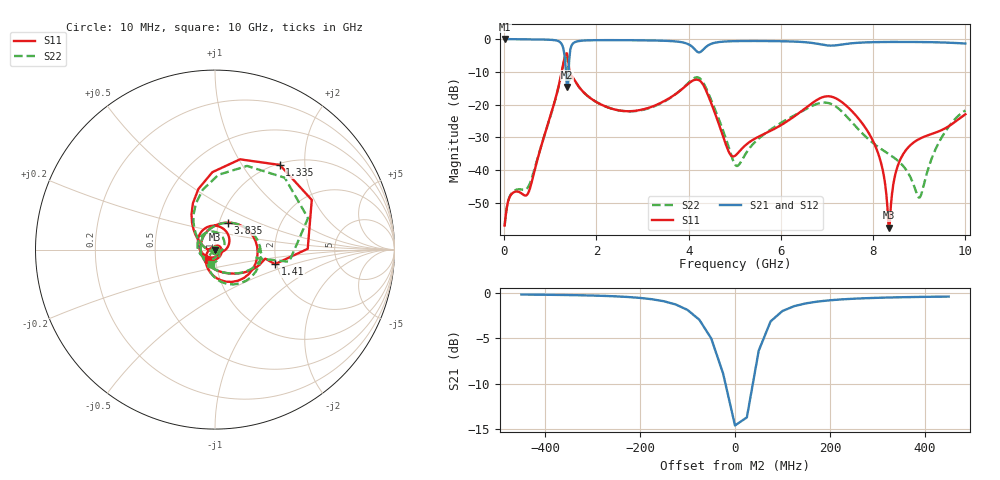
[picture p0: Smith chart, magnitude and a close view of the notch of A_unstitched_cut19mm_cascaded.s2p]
! Channel segmentation validation - 38 mm 50 ohm symmetric stripline coupon
! Case: Coupon A (no stitching vias) - cut 19 mm from nearest port, cascaded
! Solver: Ansys HFSS 3D Layout 2026 R1, broadband adaptive 1-5 GHz,
!  Delta S 0.02, interpolating sweep 10 MHz - 10 GHz
! Port[1] = U1.PAD1.SIG
! Port[2] = U2.PAD1.SIG
# GHz S MA R 50.0
! Port[1] = U1.PAD1.SIG
! Port[2] = U2.PAD1.SIG
!freq magS11 angS11 magS21 angS21 magS12 angS12 magS22 angS22
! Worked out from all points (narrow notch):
!   401 points, 10 MHz to 10 GHz, reference 50 ohm
!   highest |S21| = -0.01 dB at 10 MHz (marker M1); lowest = -14.6 dB at 1.36 GHz (marker M2)
!   notch at M2: 13.8 dB deep, 78.1 MHz wide at half that depth
!   lowest |S11| = -57.6 dB at 8.335 GHz (marker M3), VSWR 1.00, Z = 50.1 - j0.0104 ohm
!   |S11| at or under -10 dB: start of sweep to 1.247 GHz; 1.421 GHz to end of sweep
!   |S22| runs from -57.0 to -5.1 dB; largest |S21 - S12| = 7.5e-14
!   S11 on the Smith chart (normalised r, x): 10 MHz: 1.00, +0.00; 1.335 GHz: 1.03, +1.50; 1.41 GHz: 1.96, -0.36; 3.835 GHz: 1.10, +0.34; 10 GHz: 0.92, -0.11
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0.01  0.001414 16.4  0.9985 -1.0  0.9985 -1.0  0.001415 16.4
0.535  0.004663 -87.3  0.9887 -54.2  0.9887 -54.2  0.005747 -80.9
0.835  0.02754 -171.1  0.9827 -85.8  0.9827 -85.8  0.0276 -167.6
1.21  0.2354 123.8  0.9001 -138.6  0.9001 -138.6  0.2304 121.2
1.335  0.5942 52.6  0.3589 -174.8  0.3589 -174.8  0.5581 45.8
1.36  0.6061 27.2  0.1857 -152.3  0.1857 -152.3  0.547 18.6
1.41  0.3439 -13.6  0.4806 -78.8  0.4806 -78.8  0.2363 -11.8
1.685  0.1642 -54.4  0.9439 -149.4  0.9439 -149.4  0.1639 -54.5
2.11  0.09935 -104.1  0.962 163.5  0.962 163.5  0.09939 -102.5
2.61  0.07936 -157.9  0.9611 113.3  0.9611 113.3  0.07921 -151.7
3.36  0.1031 123.1  0.9467 38.7  0.9467 38.7  0.1013 126.1
3.835  0.167 64.1  0.8983 -11.0  0.8983 -11.0  0.1679 62.7
4.285  0.2157 -53.5  0.6584 -37.9  0.6584 -37.9  0.2334 -53.9
5.01  0.01658 71.3  0.9295 -110.3  0.9295 -110.3  0.01196 -105.5
5.785  0.03991 -83.0  0.9311 172.8  0.9311 172.8  0.04181 -84.1
6.685  0.1059 154.1  0.8704 83.8  0.8704 83.8  0.09589 176.8
7.81  0.04651 -11.6  0.8873 -15.1  0.8873 -15.1  0.03374 -13.9
8.16  0.01373 -42.1  0.9 -49.2  0.9 -49.2  0.02123 -50.0
8.335  0.001316 -4.5  0.9025 -66.2  0.9025 -66.2  0.01758 -67.5
8.585  0.01426 87.9  0.9037 -90.5  0.9037 -90.5  0.01289 -91.4
9.01  0.03003 43.4  0.9008 -131.6  0.9008 -131.6  0.003797 -61.1
10  0.07105 -122.7  0.8547 133.6  0.8547 133.6  0.08132 -107.4
